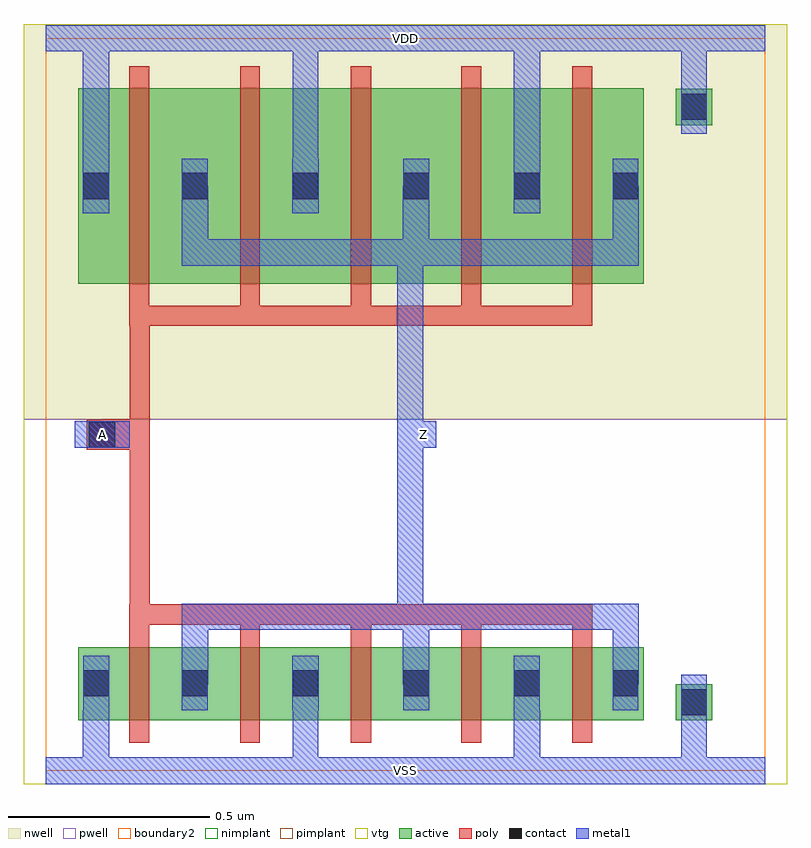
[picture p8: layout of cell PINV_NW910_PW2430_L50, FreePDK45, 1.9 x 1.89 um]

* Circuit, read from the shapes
.subckt PINV_NW910_PW2430_L50 A VDD VSS Z
M1 Z A VSS VSS nfet w=0.182u l=0.05u m=3
M2 VSS A Z VSS nfet w=0.182u l=0.049u
M3 Z A VSS VSS nfet w=0.182u l=0.051u
M4 Z A VDD VDD pfet w=0.485u l=0.05u m=3
M5 VDD A Z VDD pfet w=0.485u l=0.049u
M6 Z A VDD VDD pfet w=0.485u l=0.051u
.ends

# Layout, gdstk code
import gdstk
lib = gdstk.Library(unit=1e-6, precision=1e-09)
def R(c, l, rs):  # rectangles x0, y0, x1, y1
    for r in rs: c.add(gdstk.rectangle(r[:2], r[2:], *l))
active = (1, 0)
pwell = (2, 0)
nwell = (3, 0)
nimplant = (4, 0)
pimplant = (5, 0)
vtg = (6, 0)
poly = (9, 0)
contact = (10, 0)
metal1 = (11, 0)
boundary2 = (239, 0)

transmission_gate_nw250_ = lib.new_cell('TRANSMISSION_GATE_NW250_PW500_L50_contact_8')
R(transmission_gate_nw250_, active, [(0,0.022,0.09,0.112)])
R(transmission_gate_nw250_, nwell, [(-0.055,-0.033,0.145,0.168)])
R(transmission_gate_nw250_, pimplant, [(0,0.022,0.09,0.112)])
R(transmission_gate_nw250_, contact, [(0.013,0.035,0.077,0.1)])
R(transmission_gate_nw250_, metal1, [(0.013,0,0.077,0.135)])
R(transmission_gate_nw250_, boundary2, [(-0.055,-0.033,0.145,0.168)])

pinv_nw910_pw2430_l50_pm = lib.new_cell('PINV_NW910_PW2430_L50_pmos_m5_w0_485_sm1_dm1_da_p')
R(pinv_nw910_pw2430_l50_pm, active, [(0,0,1.405,0.485)])
R(pinv_nw910_pw2430_l50_pm, nwell, [(-0.08,-0.08,1.485,0.565)])
R(pinv_nw910_pw2430_l50_pm, pimplant, [(0,0,1.405,0.485)])
R(pinv_nw910_pw2430_l50_pm, vtg, [(-0.08,-0.08,1.485,0.565)])
R(pinv_nw910_pw2430_l50_pm, poly, [(0.127,-0.105,1.278,-0.055), (0.127,-0.055,0.177,0.54), (0.403,-0.055,0.452,0.54), (0.677,-0.055,0.728,0.54), (0.952,-0.055,1.002,0.54), (1.228,-0.055,1.278,0.54)])
R(pinv_nw910_pw2430_l50_pm, metal1, [(0.258,0.045,1.393,0.11), (0.258,0.077,0.323,0.242), (0.807,0.077,0.873,0.242), (1.328,0.077,1.393,0.242), (0.013,0.175,0.077,0.31), (0.532,0.175,0.598,0.31), (1.083,0.175,1.147,0.31)])
R(pinv_nw910_pw2430_l50_pm, boundary2, [(-0.08,-0.105,1.485,0.565)])
pinv_nw910_pw2430_l50_pm.add(gdstk.Reference(transmission_gate_nw250_, (0,0.175)))
pinv_nw910_pw2430_l50_pm.add(gdstk.Reference(transmission_gate_nw250_, (0.245,0.175)))
pinv_nw910_pw2430_l50_pm.add(gdstk.Reference(transmission_gate_nw250_, (0.52,0.175)))
pinv_nw910_pw2430_l50_pm.add(gdstk.Reference(transmission_gate_nw250_, (0.795,0.175)))
pinv_nw910_pw2430_l50_pm.add(gdstk.Reference(transmission_gate_nw250_, (1.07,0.175)))
pinv_nw910_pw2430_l50_pm.add(gdstk.Reference(transmission_gate_nw250_, (1.315,0.175)))
pinv_nw910_pw2430_l50_pm.add(gdstk.Label('G', (0.702,-0.08), layer=9, texttype=0))
pinv_nw910_pw2430_l50_pm.add(gdstk.Label('S', (1.115,0.242), layer=11, texttype=0))
pinv_nw910_pw2430_l50_pm.add(gdstk.Label('S', (0.565,0.242), layer=11, texttype=0))
pinv_nw910_pw2430_l50_pm.add(gdstk.Label('S', (0.045,0.242), layer=11, texttype=0))
pinv_nw910_pw2430_l50_pm.add(gdstk.Label('D', (0.825,0.077), layer=11, texttype=0))

c_transmission_gate_nw250_ = lib.new_cell('TRANSMISSION_GATE_NW250_PW500_L50_contact_7')
R(c_transmission_gate_nw250_, active, [(0,0.022,0.09,0.112)])
R(c_transmission_gate_nw250_, pwell, [(-0.055,-0.033,0.145,0.168)])
R(c_transmission_gate_nw250_, nimplant, [(0,0.022,0.09,0.112)])
R(c_transmission_gate_nw250_, contact, [(0.013,0.035,0.077,0.1)])
R(c_transmission_gate_nw250_, metal1, [(0.013,0,0.077,0.135)])
R(c_transmission_gate_nw250_, boundary2, [(-0.055,-0.033,0.145,0.168)])

pinv_nw910_pw2430_l50_nm = lib.new_cell('PINV_NW910_PW2430_L50_nmos_m5_w0_182_sm1_dm1_da_p')
R(pinv_nw910_pw2430_l50_nm, active, [(0,0,1.405,0.182)])
R(pinv_nw910_pw2430_l50_nm, pwell, [(-0.08,-0.08,1.485,0.263)])
R(pinv_nw910_pw2430_l50_nm, nimplant, [(0,0,1.405,0.182)])
R(pinv_nw910_pw2430_l50_nm, vtg, [(-0.08,-0.08,1.485,0.263)])
R(pinv_nw910_pw2430_l50_nm, poly, [(0.127,-0.055,0.177,0.238), (0.403,-0.055,0.452,0.238), (0.677,-0.055,0.728,0.238), (0.952,-0.055,1.002,0.238), (1.228,-0.055,1.278,0.238), (0.127,0.238,1.278,0.288)])
R(pinv_nw910_pw2430_l50_nm, metal1, [(0.013,0.025,0.077,0.16), (0.532,0.025,0.598,0.16), (1.083,0.025,1.147,0.16), (0.258,0.09,0.323,0.255), (0.807,0.09,0.873,0.255), (1.328,0.09,1.393,0.255), (0.258,0.225,1.393,0.29)])
R(pinv_nw910_pw2430_l50_nm, boundary2, [(-0.08,-0.08,1.485,0.29)])
pinv_nw910_pw2430_l50_nm.add(gdstk.Reference(c_transmission_gate_nw250_, (0,0.025)))
pinv_nw910_pw2430_l50_nm.add(gdstk.Reference(c_transmission_gate_nw250_, (0.245,0.025)))
pinv_nw910_pw2430_l50_nm.add(gdstk.Reference(c_transmission_gate_nw250_, (0.52,0.025)))
pinv_nw910_pw2430_l50_nm.add(gdstk.Reference(c_transmission_gate_nw250_, (0.795,0.025)))
pinv_nw910_pw2430_l50_nm.add(gdstk.Reference(c_transmission_gate_nw250_, (1.07,0.025)))
pinv_nw910_pw2430_l50_nm.add(gdstk.Reference(c_transmission_gate_nw250_, (1.315,0.025)))
pinv_nw910_pw2430_l50_nm.add(gdstk.Label('G', (0.702,0.263), layer=9, texttype=0))
pinv_nw910_pw2430_l50_nm.add(gdstk.Label('S', (1.115,0.092), layer=11, texttype=0))
pinv_nw910_pw2430_l50_nm.add(gdstk.Label('S', (0.045,0.092), layer=11, texttype=0))
pinv_nw910_pw2430_l50_nm.add(gdstk.Label('S', (0.565,0.092), layer=11, texttype=0))
pinv_nw910_pw2430_l50_nm.add(gdstk.Label('D', (0.825,0.258), layer=11, texttype=0))

c_transmission_gate_nw250__ = lib.new_cell('TRANSMISSION_GATE_NW250_PW500_L50_contact_9')
R(c_transmission_gate_nw250__, active, [(0,0.022,0.09,0.112)])
R(c_transmission_gate_nw250__, nwell, [(-0.055,-0.033,0.145,0.168)])
R(c_transmission_gate_nw250__, nimplant, [(0,0.022,0.09,0.112)])
R(c_transmission_gate_nw250__, contact, [(0.013,0.035,0.077,0.1)])
R(c_transmission_gate_nw250__, metal1, [(0.013,0,0.077,0.135)])
R(c_transmission_gate_nw250__, boundary2, [(-0.055,-0.033,0.145,0.168)])

c_transmission_gate_nw250___ = lib.new_cell('TRANSMISSION_GATE_NW250_PW500_L50_contact_10')
R(c_transmission_gate_nw250___, active, [(0,0.022,0.09,0.112)])
R(c_transmission_gate_nw250___, pwell, [(-0.055,-0.033,0.145,0.168)])
R(c_transmission_gate_nw250___, pimplant, [(0,0.022,0.09,0.112)])
R(c_transmission_gate_nw250___, contact, [(0.013,0.035,0.077,0.1)])
R(c_transmission_gate_nw250___, metal1, [(0.013,0,0.077,0.135)])
R(c_transmission_gate_nw250___, boundary2, [(-0.055,-0.033,0.145,0.168)])

pinv_nw180_pw270_l50_con = lib.new_cell('PINV_NW180_PW270_L50_contact_11')
R(pinv_nw180_pw270_l50_con, poly, [(0.03,0,0.105,0.075)])
R(pinv_nw180_pw270_l50_con, contact, [(0.035,0.005,0.1,0.07)])
R(pinv_nw180_pw270_l50_con, metal1, [(0,0.005,0.135,0.07)])
R(pinv_nw180_pw270_l50_con, boundary2, [(0,0,0.135,0.075)])

pinv_nw910_pw2430_l50_co = lib.new_cell('PINV_NW910_PW2430_L50_core')
R(pinv_nw910_pw2430_l50_co, pwell, [(-0.055,-0.033,1.842,0.873)])
R(pinv_nw910_pw2430_l50_co, nwell, [(-0.055,0.873,1.842,1.855)])
R(pinv_nw910_pw2430_l50_co, vtg, [(-0.055,-0.033,1.842,0.873), (-0.055,0.873,1.842,1.855)])
R(pinv_nw910_pw2430_l50_co, poly, [(0.208,0.413,0.258,1.105), (0.14,0.797,0.208,0.873)])
R(pinv_nw910_pw2430_l50_co, metal1, [(0,-0.033,1.787,0.033), (0.092,-0.033,0.157,0.15), (0.613,-0.033,0.677,0.15), (1.163,-0.033,1.228,0.15), (1.578,0,1.642,0.17), (0.873,0.35,0.937,1.32), (0.072,0.802,0.208,0.868), (0.905,0.802,0.97,0.868), (0.092,1.385,0.157,1.852), (0.613,1.385,0.677,1.852), (1.163,1.385,1.228,1.852), (1.578,1.65,1.642,1.82), (0,1.787,1.787,1.852)])
R(pinv_nw910_pw2430_l50_co, boundary2, [(0,0,1.787,1.82), (0,0,1.787,1.82)])
pinv_nw910_pw2430_l50_co.add(gdstk.Reference(pinv_nw910_pw2430_l50_pm, (0.08,1.21)))
pinv_nw910_pw2430_l50_co.add(gdstk.Reference(pinv_nw910_pw2430_l50_nm, (0.08,0.125)))
pinv_nw910_pw2430_l50_co.add(gdstk.Reference(c_transmission_gate_nw250__, (1.565,1.582)))
pinv_nw910_pw2430_l50_co.add(gdstk.Reference(c_transmission_gate_nw250___, (1.565,0.103)))
pinv_nw910_pw2430_l50_co.add(gdstk.Reference(pinv_nw180_pw270_l50_con, (0.072,0.797)))
pinv_nw910_pw2430_l50_co.add(gdstk.Label('A', (0.14,0.835), layer=11, texttype=0))
pinv_nw910_pw2430_l50_co.add(gdstk.Label('Z', (0.937,0.835), layer=11, texttype=0))
pinv_nw910_pw2430_l50_co.add(gdstk.Label('gnd', (0.894,0), layer=11, texttype=0))
pinv_nw910_pw2430_l50_co.add(gdstk.Label('vdd', (0.894,1.82), layer=11, texttype=0))

pinv_nw910_pw2430_l50 = lib.new_cell('PINV_NW910_PW2430_L50')
R(pinv_nw910_pw2430_l50, metal1, [(0,-0.033,1.787,0.033), (0.072,0.802,0.208,0.868), (0.905,0.802,0.97,0.868), (0,1.787,1.787,1.852)])
R(pinv_nw910_pw2430_l50, boundary2, [(0,0,1.787,1.82)])
pinv_nw910_pw2430_l50.add(gdstk.Reference(pinv_nw910_pw2430_l50_co, (0,0)))
pinv_nw910_pw2430_l50.add(gdstk.Label('A', (0.14,0.835), layer=11, texttype=0))
pinv_nw910_pw2430_l50.add(gdstk.Label('Z', (0.937,0.835), layer=11, texttype=0))
pinv_nw910_pw2430_l50.add(gdstk.Label('VDD', (0.894,1.82), layer=11, texttype=0))
pinv_nw910_pw2430_l50.add(gdstk.Label('VSS', (0.894,0), layer=11, texttype=0))

lib.write_gds('PINV_NW910_PW2430_L50.gds')
